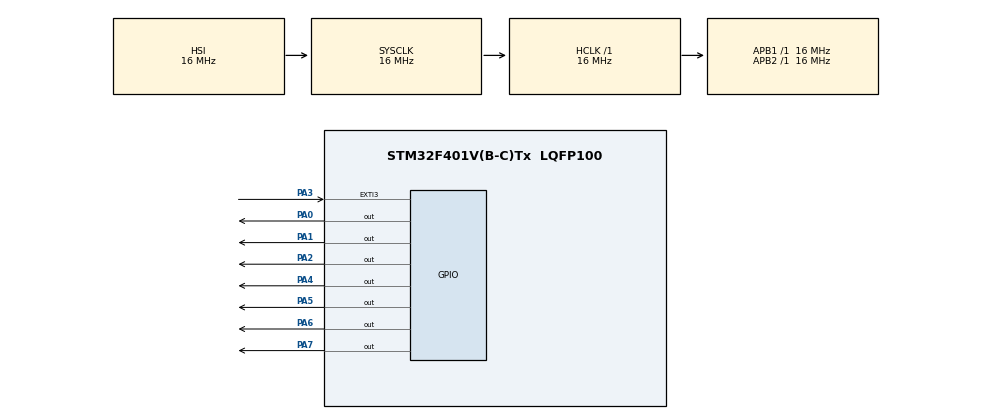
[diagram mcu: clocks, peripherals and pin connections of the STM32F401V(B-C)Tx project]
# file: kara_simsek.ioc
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Mcu.Family=STM32F4
Mcu.Name=STM32F401V(B-C)Tx
Mcu.Package=LQFP100
NVIC.PriorityGroup=NVIC_PRIORITYGROUP_4
PA0-WKUP.Signal=GPIO_Output
PA1.Signal=GPIO_Output
PA2.Signal=GPIO_Output
PA3.Signal=GPXTI3
PA4.Signal=GPIO_Output
PA5.Signal=GPIO_Output
PA6.Signal=GPIO_Output
PA7.Signal=GPIO_Output
PH0\ -\ OSC_IN.Mode=HSE-External-Oscillator
PH0\ -\ OSC_IN.Signal=RCC_OSC_IN
PH1\ -\ OSC_OUT.Mode=HSE-External-Oscillator
PH1\ -\ OSC_OUT.Signal=RCC_OSC_OUT
ProjectManager.HeapSize=0x200
ProjectManager.StackSize=0x400
ProjectManager.TargetToolchain=STM32CubeIDE
RCC.AHBFreq_Value=16000000
RCC.APB1Freq_Value=16000000
RCC.APB2Freq_Value=16000000
RCC.CortexFreq_Value=16000000
RCC.HSE_VALUE=8000000
RCC.HSI_VALUE=16000000
RCC.LSE_VALUE=32768
RCC.SYSCLKFreq_VALUE=16000000
RCC.VCOOutputFreq_Value=192000000
board=custom

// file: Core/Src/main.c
/* USER CODE BEGIN Header */
/**
  ******************************************************************************
  * @file           : main.c
  * @brief          : Main program body
  ******************************************************************************
  * @attention
  *
  * Copyright (c) 2022 STMicroelectronics.
  * All rights reserved.
  *
  * This software is licensed under terms that can be found in the LICENSE file
  * in the root directory of this software component.
  * If no LICENSE file comes with this software, it is provided AS-IS.
  *
  ******************************************************************************
  */
/* USER CODE END Header */
#include "main.h"

void SystemClock_Config(void);
static void MX_GPIO_Init(void);

/* USER CODE BEGIN 0 */
typedef struct {
	   GPIO_TypeDef* gpio;
	   uint16_t pin;
	  } my_pin_t;
	  const my_pin_t
	  pin_door[] = {
	   { GPIOA,GPIO_PIN_7 },
	   { GPIOA,GPIO_PIN_6 },
	   { GPIOA,GPIO_PIN_5 },
	   { GPIOA,GPIO_PIN_4 },
	   { GPIOA,GPIO_PIN_3 },
	   { GPIOA,GPIO_PIN_2 },
	   { GPIOA,GPIO_PIN_1 },
	   { GPIOA,GPIO_PIN_0 },
	  };

/* USER CODE END 0 */

int main(void)
{

  /* MCU Configuration--------------------------------------------------------*/

  /* Reset of all peripherals, Initializes the Flash interface and the Systick. */
  HAL_Init();

  /* Configure the system clock */
  SystemClock_Config();

  /* Initialize all configured peripherals */
  MX_GPIO_Init();

  /* Infinite loop */
  /* USER CODE BEGIN WHILE */
  while (1)
  {
	  HAL_GPIO_WritePin(pin_door[0].gpio, pin_door[0].pin, 1);
	  	  	  for(int k=1;k<8;k++){
	  	  		HAL_Delay(250);
	  	  		HAL_GPIO_WritePin(pin_door[k].gpio, pin_door[k].pin, 1);
	  	  		HAL_GPIO_WritePin(pin_door[k-1].gpio, pin_door[k-1].pin, 0);
	  	  	  }
	  	  	HAL_Delay(250);
	  	  	HAL_GPIO_WritePin(pin_door[7].gpio, pin_door[7].pin, 0);
	  	  	  for(int l=6;l>=0;l--){
	  	  		  HAL_Delay(250);
	  	  		HAL_GPIO_WritePin(pin_door[l].gpio, pin_door[l].pin, 1);
	  	  		HAL_GPIO_WritePin(pin_door[l+1].gpio, pin_door[l+1].pin, 0);
	  	  	  }
    /* USER CODE END WHILE */

  }
}

void SystemClock_Config(void)
{
  RCC_OscInitTypeDef RCC_OscInitStruct = {0};
  RCC_ClkInitTypeDef RCC_ClkInitStruct = {0};

  /** Configure the main internal regulator output voltage
  */
  __HAL_RCC_PWR_CLK_ENABLE();
  __HAL_PWR_VOLTAGESCALING_CONFIG(PWR_REGULATOR_VOLTAGE_SCALE2);

  /** Initializes the RCC Oscillators according to the specified parameters
  * in the RCC_OscInitTypeDef structure.
  */
  RCC_OscInitStruct.OscillatorType = RCC_OSCILLATORTYPE_HSI;
  RCC_OscInitStruct.HSIState = RCC_HSI_ON;
  RCC_OscInitStruct.HSICalibrationValue = RCC_HSICALIBRATION_DEFAULT;
  RCC_OscInitStruct.PLL.PLLState = RCC_PLL_NONE;
  if (HAL_RCC_OscConfig(&RCC_OscInitStruct) != HAL_OK)
  {
    Error_Handler();
  }

  /** Initializes the CPU, AHB and APB buses clocks
  */
  RCC_ClkInitStruct.ClockType = RCC_CLOCKTYPE_HCLK|RCC_CLOCKTYPE_SYSCLK
                              |RCC_CLOCKTYPE_PCLK1|RCC_CLOCKTYPE_PCLK2;
  RCC_ClkInitStruct.SYSCLKSource = RCC_SYSCLKSOURCE_HSI;
  RCC_ClkInitStruct.AHBCLKDivider = RCC_SYSCLK_DIV1;
  RCC_ClkInitStruct.APB1CLKDivider = RCC_HCLK_DIV1;
  RCC_ClkInitStruct.APB2CLKDivider = RCC_HCLK_DIV1;

  if (HAL_RCC_ClockConfig(&RCC_ClkInitStruct, FLASH_LATENCY_0) != HAL_OK)
  {
    Error_Handler();
  }
}

static void MX_GPIO_Init(void)
{
  GPIO_InitTypeDef GPIO_InitStruct = {0};

  /* GPIO Ports Clock Enable */
  __HAL_RCC_GPIOH_CLK_ENABLE();
  __HAL_RCC_GPIOA_CLK_ENABLE();

  /*Configure GPIO pin Output Level */
  HAL_GPIO_WritePin(GPIOA, GPIO_PIN_0|GPIO_PIN_1|GPIO_PIN_2|GPIO_PIN_4
                          |GPIO_PIN_5|GPIO_PIN_6|GPIO_PIN_7, GPIO_PIN_RESET);

  /*Configure GPIO pins : PA0 PA1 PA2 PA4
                           PA5 PA6 PA7 */
  GPIO_InitStruct.Pin = GPIO_PIN_0|GPIO_PIN_1|GPIO_PIN_2|GPIO_PIN_4
                          |GPIO_PIN_5|GPIO_PIN_6|GPIO_PIN_7;
  GPIO_InitStruct.Mode = GPIO_MODE_OUTPUT_PP;
  GPIO_InitStruct.Pull = GPIO_NOPULL;
  GPIO_InitStruct.Speed = GPIO_SPEED_FREQ_LOW;
  HAL_GPIO_Init(GPIOA, &GPIO_InitStruct);

  /*Configure GPIO pin : PA3 */
  GPIO_InitStruct.Pin = GPIO_PIN_3;
  GPIO_InitStruct.Mode = GPIO_MODE_IT_RISING;
  GPIO_InitStruct.Pull = GPIO_NOPULL;
  HAL_GPIO_Init(GPIOA, &GPIO_InitStruct);

}

void Error_Handler(void)
{
  __disable_irq();
  while (1)
  {
  }
}
